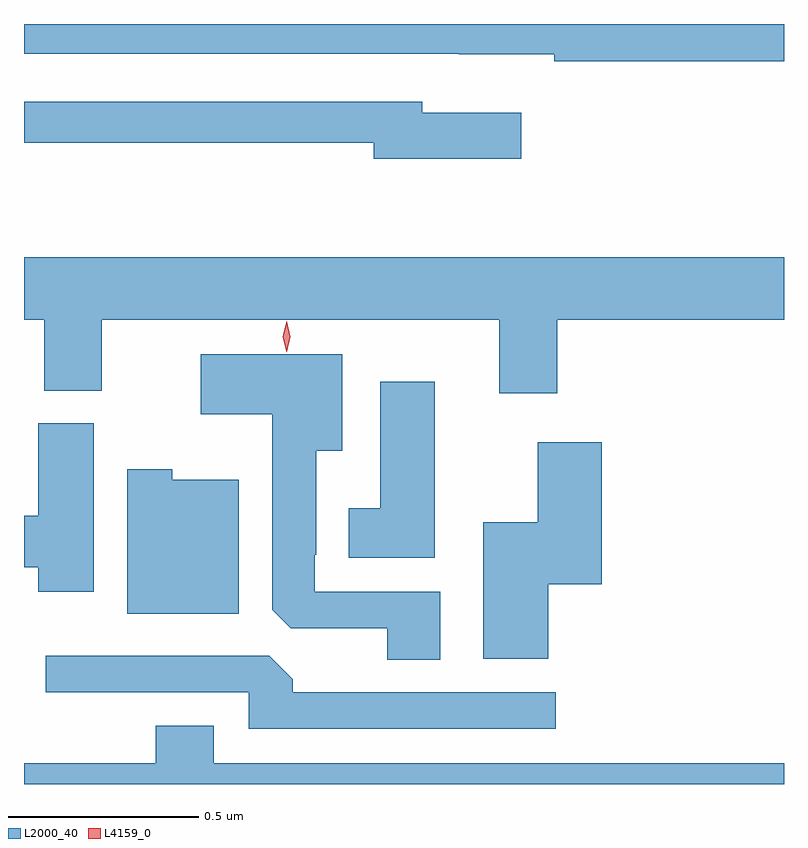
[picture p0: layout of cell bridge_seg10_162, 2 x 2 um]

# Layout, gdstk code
import gdstk
lib = gdstk.Library(unit=1e-6, precision=1e-09)
def P(c, l, *ps):  # polygons
    for p in ps: c.add(gdstk.Polygon(p, *l))
L2000_40 = (2000, 40)
L4159_0 = (4159, 0)

bridge_seg10_162 = lib.new_cell('bridge_seg10_162')
P(bridge_seg10_162, L2000_40, [(252.338,1285.11),(250.338,1285.11),(250.338,1285.032),(251.482,1285.032),(251.482,1285.031),(251.734,1285.031),(251.734,1285.012),(252.338,1285.012)],
  [(251.647,1284.877),(251.386,1284.877),(251.386,1284.906),(250.338,1284.906),(250.338,1284.798),(251.258,1284.798),(251.258,1284.755),(251.647,1284.755)],
  [(251.741,1284.332),(252.338,1284.332),(252.338,1284.496),(250.338,1284.496),(250.338,1284.332),(250.391,1284.332),(250.391,1284.145),(250.543,1284.145),(250.543,1284.332),(251.588,1284.332),(251.588,1284.138),(251.741,1284.138)],
  [(251.434,1283.616),(251.103,1283.616),(251.103,1283.713),(251.107,1283.713),(251.107,1283.987),(251.176,1283.987),(251.176,1284.241),(250.803,1284.241),(250.803,1284.083),(250.991,1284.083),(250.991,1283.569),(251.04,1283.52),(251.294,1283.52),(251.294,1283.437),(251.434,1283.437)],
  [(251.419,1284.169),(251.276,1284.169),(251.276,1283.836),(251.192,1283.836),(251.192,1283.705),(251.419,1283.705)],
  [(250.522,1284.06),(250.376,1284.06),(250.376,1283.816),(250.338,1283.816),(250.338,1283.68),(250.376,1283.68),(250.376,1283.616),(250.522,1283.616)],
  [(251.717,1283.636),(251.858,1283.636),(251.858,1284.01),(251.69,1284.01),(251.69,1283.799),(251.546,1283.799),(251.546,1283.439),(251.717,1283.439)],
  [(250.903,1283.911),(250.728,1283.911),(250.728,1283.938),(250.61,1283.938),(250.61,1283.558),(250.903,1283.558)],
  [(251.737,1283.352),(251.045,1283.352),(251.045,1283.386),(250.983,1283.448),(250.395,1283.448),(250.395,1283.352),(250.929,1283.352),(250.929,1283.256),(251.737,1283.256)],
  [(252.338,1283.164),(250.837,1283.164),(250.837,1283.263),(250.685,1283.263),(250.685,1283.164),(250.338,1283.164),(250.338,1283.11),(252.338,1283.11)])
P(bridge_seg10_162, L4159_0, [(251.029,1284.246),(251.029,1284.246),(251.019,1284.287),(251.029,1284.328),(251.029,1284.328),(251.029,1284.328),(251.039,1284.287),(251.029,1284.246)])

lib.write_gds('bridge_seg10_162.gds')
